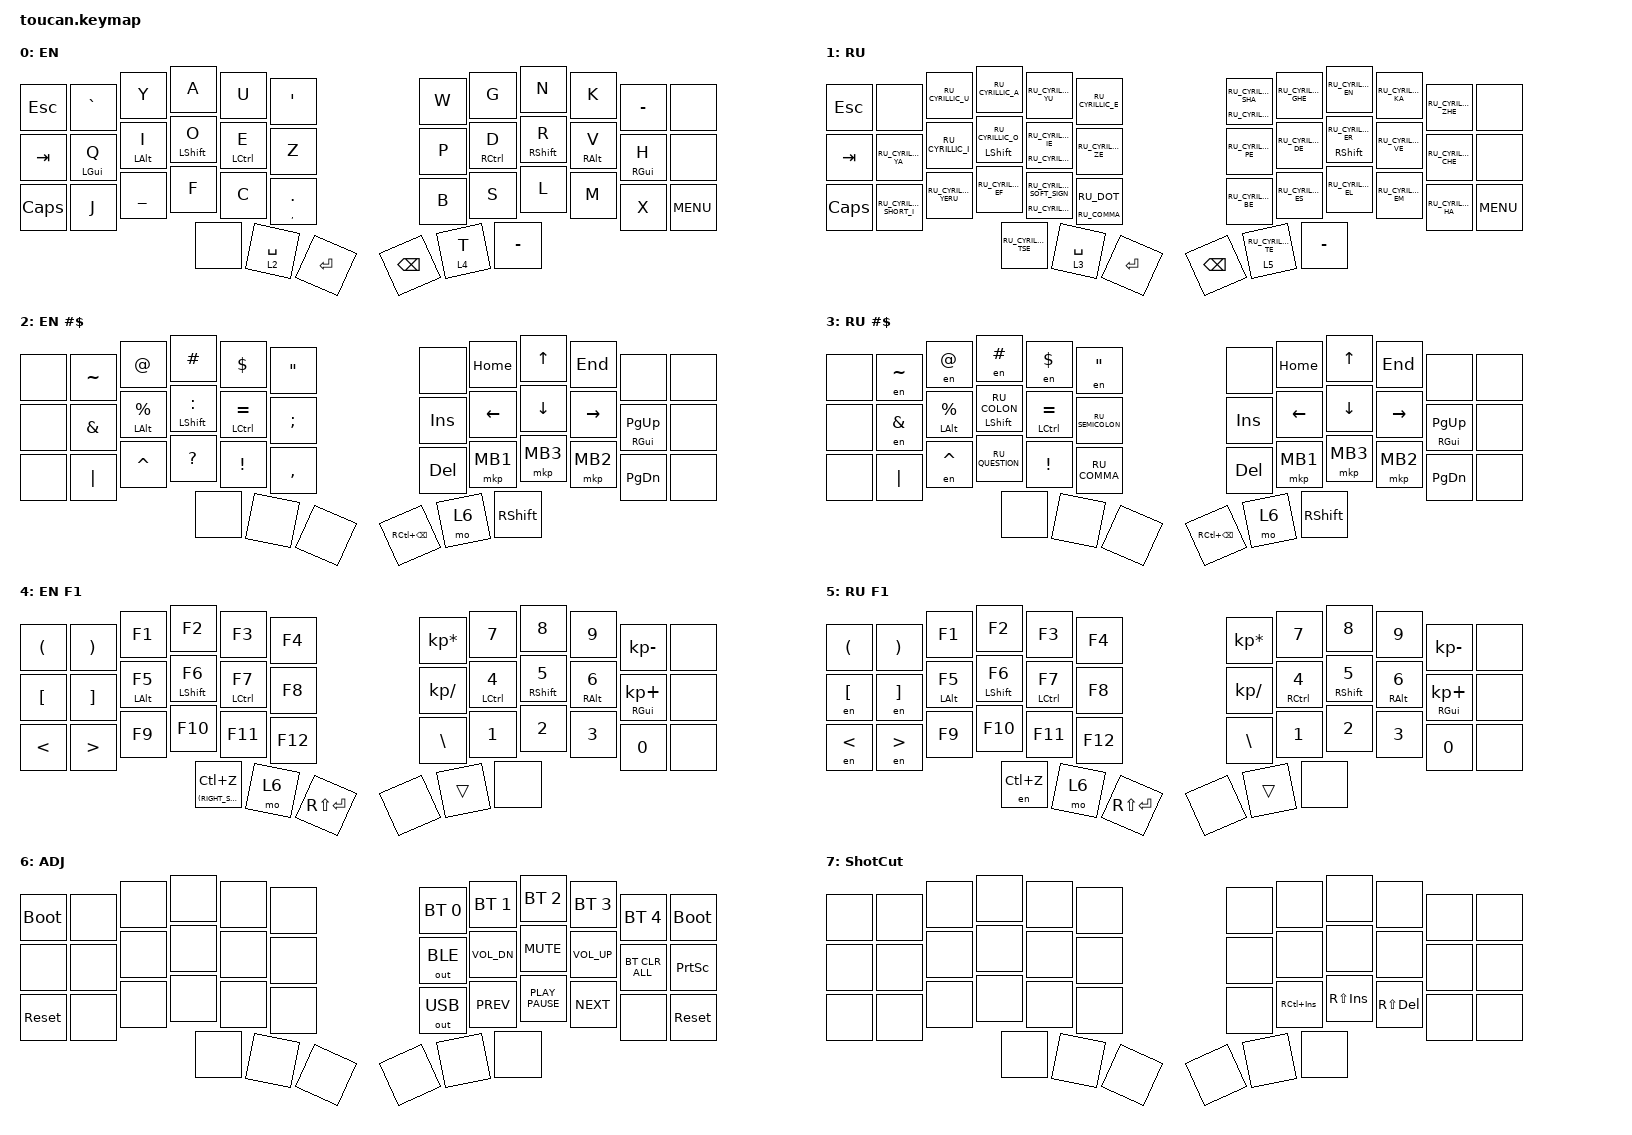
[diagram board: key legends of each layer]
#include "keys_ru.h"
#include <behaviors.dtsi>
#include <dt-bindings/zmk/bt.h>
#include <dt-bindings/zmk/keys.h>
#include <dt-bindings/zmk/outputs.h>
#include <dt-bindings/zmk/pointing.h>

/ {
    conditional_layers { compatible = "zmk,conditional-layers"; };

    combos {
        compatible = "zmk,combos";

        cmben {
            bindings = <&layer_en>;
            key-positions = <3 2>;
        };

        cmbru {
            bindings = <&layer_ru>;
            key-positions = <8 9>;
        };

        LeftReset {
            bindings = <&sys_reset>;
            key-positions = <12 13>;
            timeout-ms = <100>;
        };

        RightReset {
            bindings = <&sys_reset>;
            key-positions = <23 22>;
            timeout-ms = <100>;
        };

        LeftMapLoad {
            bindings = <&bootloader>;
            key-positions = <24 25>;
            require-prior-idle-ms = <100>;
        };

        RightMapLoad {
            bindings = <&bootloader>;
            key-positions = <34 35>;
            require-prior-idle-ms = <100>;
        };
    };

    macros {
        to_ru: to_ru {
            compatible = "zmk,behavior-macro";
            #binding-cells = <0>;
            bindings =
                <&macro_press>,
                <&kp RIGHT_CONTROL>,
                <&macro_wait_time 25>,
                <&kp K_CONTEXT_MENU>,
                <&macro_pause_for_release>,
                <&macro_release>,
                <&kp K_APP &kp RIGHT_CONTROL>,
                <&macro_tap>,
                <&macro_wait_time 50>;

            label = "TO_RU";
            wait-ms = <0>;
            tap-ms = <30>;
        };

        to_en: to_en {
            compatible = "zmk,behavior-macro";
            #binding-cells = <0>;
            bindings =
                <&macro_press>,
                <&kp LCTRL>,
                <&macro_wait_time 25>,
                <&kp LEFT_GUI>,
                <&macro_pause_for_release>,
                <&macro_release>,
                <&kp LEFT_GUI &kp LEFT_CONTROL>,
                <&macro_tap>,
                <&macro_wait_time 50>;

            label = "TO_EN";
            wait-ms = <0>;
            tap-ms = <30>;
        };

        en: en {
            compatible = "zmk,behavior-macro-one-param";
            #binding-cells = <1>;
            bindings =
                <&macro_press>,
                <&kp LEFT_CONTROL>,
                <&macro_wait_time 25>,
                <&kp LEFT_GUI>,
                <&macro_pause_for_release>,
                <&macro_release>,
                <&kp LEFT_GUI &kp LEFT_CONTROL>,
                <&macro_wait_time 25>,
                <&macro_press>,
                <&macro_param_1to1 &kp MACRO_PLACEHOLDER>,
                <&macro_pause_for_release>,
                <&macro_release>,
                <&macro_param_1to1 &kp MACRO_PLACEHOLDER>,
                <&macro_wait_time 25>,
                <&macro_press>,
                <&kp RIGHT_CONTROL>,
                <&macro_wait_time 25>,
                <&kp K_CONTEXT_MENU>,
                <&macro_pause_for_release>,
                <&macro_release>,
                <&kp K_CONTEXT_MENU &kp RIGHT_CONTROL>,
                <&macro_tap>;

            label = "EN";
            wait-ms = <0>;
            tap-ms = <30>;
        };

        layer_en: layer_en {
            compatible = "zmk,behavior-macro";
            #binding-cells = <0>;
            bindings = <&to 0 &to_en>;
            label = "LAYER_EN";
            wait-ms = <0>;
            tap-ms = <30>;
        };

        layer_ru: layer_ru {
            compatible = "zmk,behavior-macro";
            #binding-cells = <0>;
            bindings = <&to 1 &to_ru>;
            label = "LAYER_RU";
            wait-ms = <0>;
            tap-ms = <30>;
        };

        swapper: swapper {
            compatible = "zmk,behavior-macro-two-param";
            #binding-cells = <2>;
            bindings =
                <&macro_press>,
                <&macro_param_1to1 &kp MACRO_PLACEHOLDER>,
                <&macro_tap>,
                <&macro_param_2to1 &kp MACRO_PLACEHOLDER &macro_param_1to1 &stiky_swap MACRO_PLACEHOLDER>,
                <&macro_release>,
                <&macro_param_1to1 &kp MACRO_PLACEHOLDER>;

            label = "SWAPPER";
        };
    };

    behaviors {
        stiky_swap: stiky_swap {
            compatible = "zmk,behavior-sticky-key";
            label = "STIKY_SWAP";
            bindings = <&kp>;
            #binding-cells = <1>;
            release-after-ms = <1000>;
        };

        hml: home_row_mod_left {
            compatible = "zmk,behavior-hold-tap";
            label = "HRM_LEFT";
            bindings = <&kp>, <&kp>;

            #binding-cells = <2>;
            flavor = "balanced";
            tapping-term-ms = <155>;
            quick-tap-ms = <120>;
        };

        hmr: home_row_mod_right {
            compatible = "zmk,behavior-hold-tap";
            label = "HRM_RIGHT";
            bindings = <&kp>, <&kp>;

            #binding-cells = <2>;
            tapping-term-ms = <155>;
            flavor = "balanced";
            quick-tap-ms = <120>;
        };

        lt2: lt2 {
            compatible = "zmk,behavior-hold-tap";
            label = "LT2";
            bindings = <&mo>, <&kp>;

            #binding-cells = <2>;
            tapping-term-ms = <180>;
            hold-while-undecided;
            quick-tap-ms = <120>;
            flavor = "balanced";
        };
    };

    keymap {
        compatible = "zmk,keymap";

        en {
            display-name = "EN";
            bindings = <
&kp ESC  &kp GRAVE  &kp Y  &kp A  &kp U  &kp SQT  &kp W  &kp G  &kp N  &kp K  &kp MINUS  &none  &kp TAB  &hml LEFT_GUI Q  &hml LEFT_ALT I  &hml LEFT_SHIFT O  &hml LEFT_CONTROL E  &kp Z  &kp P  &hmr RCTRL D  &hmr RIGHT_SHIFT R  &hmr RIGHT_ALT V  &hmr RIGHT_GUI H  &none  &kp CAPS  &kp J  &kp UNDER  &kp F  &kp C  &hml COMMA DOT  &kp B  &kp S  &kp L  &kp M  &kp X  &kp K_MENU  &none  &lt2 2 SPACE  &kp ENTER  &kp BACKSPACE  &lt2 4 T  &kp MINUS
            >;
        };

        ru {
            display-name = "RU";
            bindings = <
&kp ESC  &none  &kp RU_CYRILLIC_U  &kp RU_CYRILLIC_A  &kp RU_CYRILLIC_YU  &kp RU_CYRILLIC_E  &hmr RU_CYRILLIC_SHCHA RU_CYRILLIC_SHA  &kp RU_CYRILLIC_GHE  &kp RU_CYRILLIC_EN  &kp RU_CYRILLIC_KA  &kp RU_CYRILLIC_ZHE  &none  &kp TAB  &kp RU_CYRILLIC_YA  &kp RU_CYRILLIC_I  &hml LEFT_SHIFT RU_CYRILLIC_O  &hml RU_CYRILLIC_IO RU_CYRILLIC_IE  &kp RU_CYRILLIC_ZE  &kp RU_CYRILLIC_PE  &kp RU_CYRILLIC_DE  &hmr RIGHT_SHIFT RU_CYRILLIC_ER  &kp RU_CYRILLIC_VE  &kp RU_CYRILLIC_CHE  &none  &kp CAPS  &kp RU_CYRILLIC_SHORT_I  &kp RU_CYRILLIC_YERU  &kp RU_CYRILLIC_EF  &hml RU_CYRILLIC_HARD_SIGN RU_CYRILLIC_SOFT_SIGN  &hml RU_COMMA RU_DOT  &kp RU_CYRILLIC_BE  &kp RU_CYRILLIC_ES  &kp RU_CYRILLIC_EL  &kp RU_CYRILLIC_EM  &kp RU_CYRILLIC_HA  &kp K_MENU  &kp RU_CYRILLIC_TSE  &lt2 3 SPACE  &kp ENTER  &kp BACKSPACE  &lt2 5 RU_CYRILLIC_TE  &kp MINUS
            >;
        };

        sym_nav_en {
            display-name = " EN #$";
            bindings = <
&none  &kp TILDE  &kp AT  &kp HASH  &kp DOLLAR  &kp DQT  &none  &kp HOME  &kp UP  &kp END  &none  &none  &none  &kp AMPERSAND  &hml LEFT_ALT PRCNT  &hml LEFT_SHIFT COLON  &hml LCTRL EQUAL  &kp SEMI  &kp INS  &kp LEFT_ARROW  &kp DOWN_ARROW  &kp RIGHT_ARROW  &hmr RIGHT_GUI PG_UP  &none  &none  &kp PIPE  &kp CARET  &kp QMARK  &kp EXCL  &kp COMMA  &kp DEL  &mkp MB1  &mkp MB3  &mkp MB2  &kp PG_DN  &none  &none  &none  &none  &kp RC(BACKSPACE)  &mo 6  &kp RIGHT_SHIFT
            >;
        };

        sym_nav_ru {
            display-name = " RU #$";
            bindings = <
&none  &en TILDE  &en AT  &en HASH  &en DOLLAR  &en DQT  &none  &kp HOME  &kp UP  &kp END  &none  &none  &none  &en AMPS  &hml LEFT_ALT PRCNT  &hml LEFT_SHIFT RU_COLON  &hml LCTRL EQUAL  &kp RU_SEMICOLON  &kp INS  &kp LEFT_ARROW  &kp DOWN_ARROW  &kp RIGHT_ARROW  &hmr RIGHT_GUI PG_UP  &none  &none  &kp PIPE  &en CARET  &kp RU_QUESTION  &kp EXCL  &kp RU_COMMA  &kp DEL  &mkp MB1  &mkp MB3  &mkp MB2  &kp PG_DN  &none  &none  &none  &none  &kp RC(BACKSPACE)  &mo 6  &kp RIGHT_SHIFT
            >;
        };

        fn_num_en {
            display-name = " EN F1";
            bindings = <
&kp LPAR  &kp RPAR  &kp F1  &kp F2  &kp F3  &kp F4  &kp KP_ASTERISK  &kp N7  &kp N8  &kp N9  &kp KP_MINUS  &none  &kp LEFT_BRACKET  &kp RIGHT_BRACKET  &hml LEFT_ALT F5  &hml LEFT_SHIFT F6  &hml LEFT_CONTROL F7  &kp F8  &kp KP_SLASH  &hmr LCTRL NUMBER_4  &hmr RIGHT_SHIFT NUMBER_5  &hmr RIGHT_ALT N6  &hmr RGUI KP_PLUS  &none  &kp LESS_THAN  &kp GREATER_THAN  &kp F9  &kp F10  &kp F11  &kp F12  &kp BSLH  &kp N1  &kp NUMBER_2  &kp NUMBER_3  &kp N0  &none  &mt (RIGHT_SHIFT) LC(Z)  &mo 6  &kp RS(ENTER)  &none  &trans  &none
            >;
        };

        fn_num_ru {
            display-name = " RU F1";
            bindings = <
&kp LPAR  &kp RPAR  &kp F1  &kp F2  &kp F3  &kp F4  &kp KP_ASTERISK  &kp N7  &kp N8  &kp N9  &kp KP_MINUS  &none  &en LEFT_BRACKET  &en RIGHT_BRACKET  &hml LEFT_ALT F5  &hml LEFT_SHIFT F6  &hml LEFT_CONTROL F7  &kp F8  &kp KP_DIVIDE  &hmr RCTRL NUMBER_4  &hmr RIGHT_SHIFT NUMBER_5  &hmr RIGHT_ALT N6  &hmr RGUI KP_PLUS  &none  &en LESS_THAN  &en GREATER_THAN  &kp F9  &kp F10  &kp F11  &kp F12  &kp BACKSLASH  &kp N1  &kp NUMBER_2  &kp NUMBER_3  &kp N0  &none  &en LC(Z)  &mo 6  &kp RS(ENTER)  &none  &trans  &none
            >;
        };

        adj {
            display-name = "ADJ";
            bindings = <
&bootloader  &none  &none  &none  &none  &none  &bt BT_SEL 0  &bt BT_SEL 1  &bt BT_SEL 2  &bt BT_SEL 3  &bt BT_SEL 4  &bootloader  &none  &none  &none  &none  &none  &none  &out OUT_BLE  &kp C_VOL_DN  &kp K_MUTE  &kp C_VOL_UP  &bt BT_CLR_ALL  &kp PRINTSCREEN  &sys_reset  &none  &none  &none  &none  &none  &out OUT_USB  &kp K_PREV  &kp K_PLAY_PAUSE  &kp K_NEXT  &none  &sys_reset  &none  &none  &none  &none  &none  &none
            >;
        };

        ShotCut {
            bindings = <
&none  &none  &none  &none  &none  &none  &none  &none  &none  &none  &none  &none  &none  &none  &none  &none  &none  &none  &none  &none  &none  &none  &none  &none  &none  &none  &none  &none  &none  &none  &none  &kp RC(INSERT)  &kp RS(INSERT)  &kp RS(DELETE)  &none  &none  &none  &none  &none  &none  &none  &none
            >;
        };
    };
};
